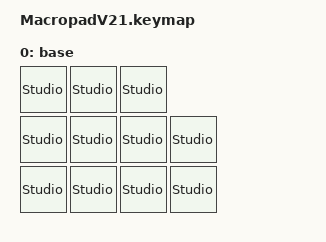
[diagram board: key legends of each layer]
#include <behaviors.dtsi>
#include <dt-bindings/zmk/keys.h>


/ {
    keymap {
        compatible = "zmk,keymap";

        default_layer {
            display-name = "base";
            bindings = <
                &studio_unlock  
                &studio_unlock 
                &studio_unlock  
                &studio_unlock 
                &studio_unlock 
                &studio_unlock 
                &studio_unlock 
                &studio_unlock  
                &studio_unlock    
                &studio_unlock    
                &studio_unlock    

            >;
        };
    };
};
